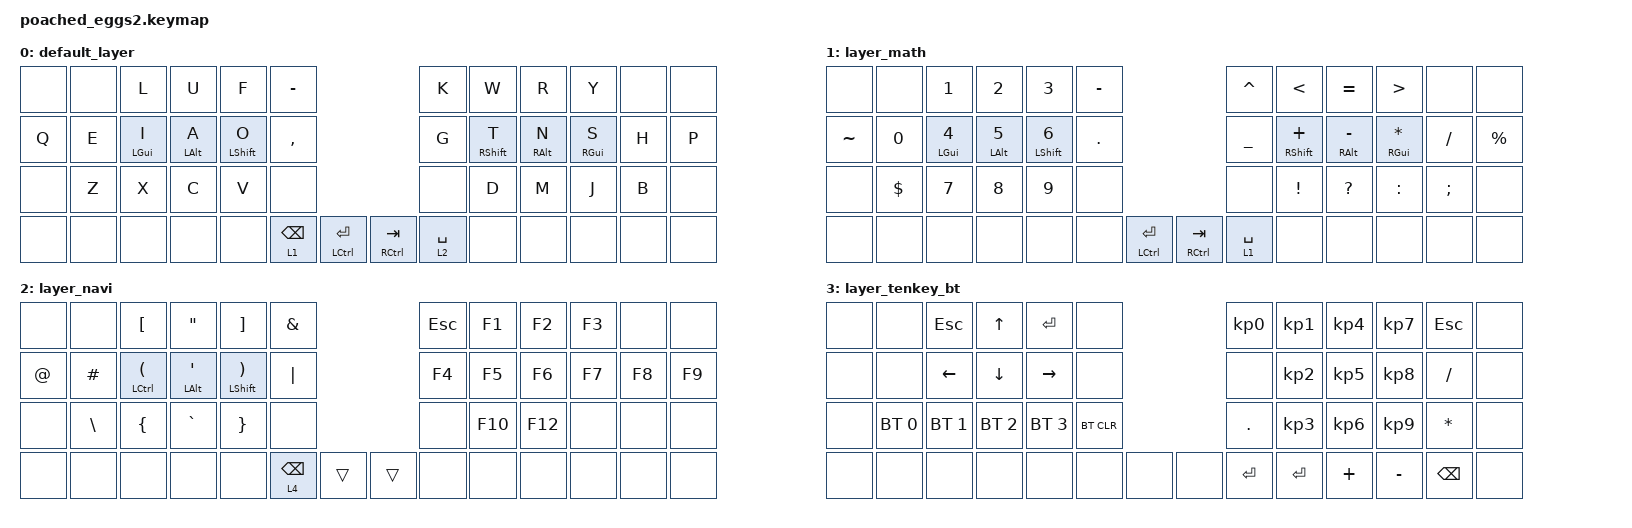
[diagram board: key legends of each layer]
#include <behaviors.dtsi>
#include <dt-bindings/zmk/keys.h>
#include <dt-bindings/zmk/mouse.h>
#include <dt-bindings/zmk/bt.h>
#include <dt-bindings/zmk/outputs.h>
#include <dt-bindings/zmk/pointing.h>

&mt {
    flavor = "tap-preferred";
    tapping-term-ms = <225>;
    quick-tap-ms = <200>;
    require-prior-idle-ms = <150>;
};

&lt {
    flavor = "balanced";
    tapping-term-ms = <175>;
    quick-tap-ms = <200>;
};

&sk {
};

&sl {
};

&caps_word {
};

&key_repeat {
};

/ {
    behaviors {
    };

    macros {
    };

    conditional_layers {
    };
    combos {
        compatible = "zmk,combos";

        combo_lang2 {
            bindings = <&kp LANG2>;
            key-positions = <15 16>;
        };

        combo_lang1 {
            bindings = <&kp LANG1>;
            key-positions = <19 20>;
        };

        combo_tenkey {
            bindings = <&tog 3>;
            key-positions = <11 49>;
        };

        combo_bt {
            bindings = <&mo 4>;
            key-positions = <0 36>;
        };

        combo_studio_unlock {
            bindings = <&studio_unlock>;
            key-positions = <41 42 43 44>;
        };
    };

    keymap {
        compatible = "zmk,keymap";

        default_layer {
            bindings = <
&none  &none  &kp L       &kp U       &kp F        &kp MINUS                                   &kp K        &kp W        &kp R       &kp Y       &none  &none
&kp Q  &kp E  &mt LGUI I  &mt LALT A  &mt LSHFT O  &kp COMMA                                   &kp G        &mt RSHFT T  &mt RALT N  &mt RGUI S  &kp H  &kp P
&none  &kp Z  &kp X       &kp C       &kp V        &none                                       &none        &kp D        &kp M       &kp J       &kp B  &none
&none  &none  &none       &none       &none        &lt 1 BSPC  &mt LCTRL ENTER  &mt RCTRL TAB  &lt 2 SPACE  &none        &none       &none       &none  &none
            >;
        };

        layer_math {
            bindings = <
&none      &none       &kp N1       &kp N2       &kp N3        &kp MINUS                                  &kp CARET    &kp LT          &kp EQUAL       &kp GT         &none     &none
&kp TILDE  &kp N0      &mt LGUI N4  &mt LALT N5  &mt LSHFT N6  &kp DOT                                    &kp UNDER    &mt RSHFT PLUS  &mt RALT MINUS  &mt RGUI STAR  &kp FSLH  &kp PRCNT
&none      &kp DOLLAR  &kp N7       &kp N8       &kp N9        &none                                      &none        &kp EXCL        &kp QMARK       &kp COLON      &kp SEMI  &none
&none      &none       &none        &none        &none         &none      &mt LCTRL ENTER  &mt RCTRL TAB  &lt 1 SPACE  &none           &none           &none          &none     &none
            >;
        };

        layer_navi {
            bindings = <
&none   &none     &kp LBKT        &kp DQT       &kp RBKT        &kp AMPS                         &kp ESC  &kp F1   &kp F2   &kp F3  &none   &none
&kp AT  &kp HASH  &mt LCTRL LPAR  &mt LALT SQT  &mt LSHFT RPAR  &kp PIPE                         &kp F4   &kp F5   &kp F6   &kp F7  &kp F8  &kp F9
&none   &kp BSLH  &kp LBRC        &kp GRAVE     &kp RBRC        &none                            &none    &kp F10  &kp F12  &none   &none   &none
&none   &none     &none           &none         &none           &lt 4 BACKSPACE  &trans  &trans  &none    &none    &none    &none   &none   &none
            >;
        };

        layer_tenkey_bt {
            bindings = <
&none   &none         &kp ESCAPE    &kp UP        &kp ENTER     &none                   &kp KP_NUMBER_0  &kp KP_NUMBER_1  &kp KP_NUMBER_4  &kp KP_NUMBER_7  &kp ESC        &none
&none   &none         &kp LEFT      &kp DOWN      &kp RIGHT     &none                   &none            &kp KP_NUMBER_2  &kp KP_NUMBER_5  &kp KP_NUMBER_8  &kp SLASH      &none
&none  &bt BT_SEL 0  &bt BT_SEL 1  &bt BT_SEL 2  &bt BT_SEL 3  &bt BT_CLR               &kp PERIOD       &kp KP_NUMBER_3  &kp KP_NUMBER_6  &kp KP_NUMBER_9  &kp ASTRK      &none
&none  &none         &none         &none         &none         &none       &none  &none  &kp ENTER        &kp ENTER        &kp PLUS         &kp MINUS        &kp BACKSPACE  &none
            >;
        };
    };
};

};
